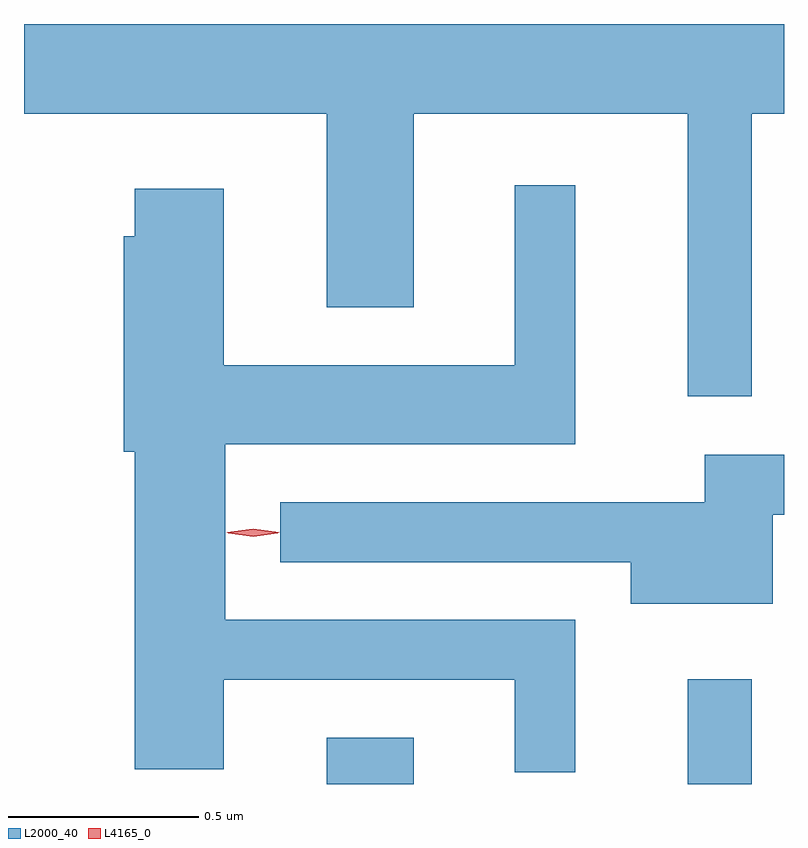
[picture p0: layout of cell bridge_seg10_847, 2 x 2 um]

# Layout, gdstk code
import gdstk
lib = gdstk.Library(unit=1e-6, precision=1e-09)
def R(c, l, rs):  # rectangles x0, y0, x1, y1
    for r in rs: c.add(gdstk.rectangle(r[:2], r[2:], *l))
def P(c, l, *ps):  # polygons
    for p in ps: c.add(gdstk.Polygon(p, *l))
L2000_40 = (2000, 40)
L4165_0 = (4165, 0)

bridge_seg10_847 = lib.new_cell('bridge_seg10_847')
R(bridge_seg10_847, L2000_40, [(207.291,2205.392,207.519,2205.514), (208.241,2205.392,208.409,2205.668)])
P(bridge_seg10_847, L2000_40, [(208.409,2207.156),(208.494,2207.156),(208.494,2207.392),(206.494,2207.392),(206.494,2207.156),(207.291,2207.156),(207.291,2206.646),(207.519,2206.646),(207.519,2207.156),(208.241,2207.156),(208.241,2206.413),(208.409,2206.413)],
  [(207.944,2205.824),(207.024,2205.824),(207.024,2206.286),(207.944,2206.286),(207.944,2206.968),(207.786,2206.968),(207.786,2206.494),(207.019,2206.494),(207.019,2206.959),(206.786,2206.959),(206.786,2206.834),(206.756,2206.834),(206.756,2206.266),(206.786,2206.266),(206.786,2205.431),(207.019,2205.431),(207.019,2205.666),(207.786,2205.666),(207.786,2205.423),(207.944,2205.423)],
  [(208.464,2206.101),(208.494,2206.101),(208.494,2206.259),(208.286,2206.259),(208.286,2206.134),(207.168,2206.134),(207.168,2205.976),(208.091,2205.976),(208.091,2205.866),(208.464,2205.866)])
P(bridge_seg10_847, L4165_0, [(207.097,2206.044),(207.028,2206.054),(207.027,2206.054),(207.028,2206.055),(207.097,2206.064),(207.166,2206.055),(207.166,2206.054),(207.166,2206.054)],
  [(207.097,2206.043),(207.031,2206.052),(207.03,2206.053),(207.031,2206.053),(207.097,2206.063),(207.162,2206.053),(207.163,2206.053),(207.162,2206.052)])

lib.write_gds('bridge_seg10_847.gds')
